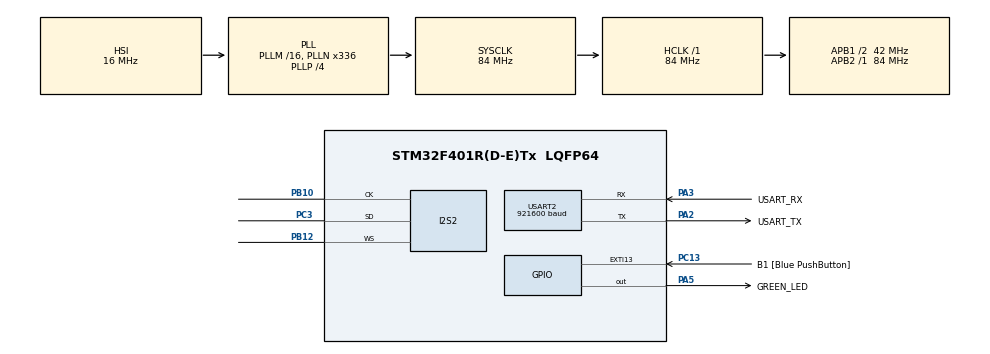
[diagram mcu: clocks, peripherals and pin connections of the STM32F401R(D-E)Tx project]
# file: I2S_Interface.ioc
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Dma.Request0=SPI2_RX
Dma.SPI2_RX.0.Direction=DMA_PERIPH_TO_MEMORY
Dma.SPI2_RX.0.FIFOMode=DMA_FIFOMODE_DISABLE
Dma.SPI2_RX.0.Instance=DMA1_Stream3
Dma.SPI2_RX.0.MemDataAlignment=DMA_MDATAALIGN_HALFWORD
Dma.SPI2_RX.0.MemInc=DMA_MINC_ENABLE
Dma.SPI2_RX.0.Mode=DMA_CIRCULAR
Dma.SPI2_RX.0.PeriphDataAlignment=DMA_PDATAALIGN_HALFWORD
Dma.SPI2_RX.0.PeriphInc=DMA_PINC_DISABLE
Dma.SPI2_RX.0.Priority=DMA_PRIORITY_VERY_HIGH
I2S2.AudioFreq=I2S_AUDIOFREQ_32K
I2S2.CPOL=I2S_CPOL_LOW
I2S2.DataFormat=I2S_DATAFORMAT_24B
I2S2.ErrorAudioFreq=-0.26 %
I2S2.FullDuplexMode=I2S_FULLDUPLEXMODE_DISABLE
I2S2.Instance=SPI$Index
I2S2.Mode=I2S_MODE_MASTER_RX
I2S2.RealAudioFreq=31.914 KHz
I2S2.Standard=I2S_STANDARD_PHILIPS
I2S2.VirtualMode=I2S_MODE_MASTER
Mcu.Family=STM32F4
Mcu.Name=STM32F401R(D-E)Tx
Mcu.Package=LQFP64
NVIC.DMA1_Stream3_IRQn=true\:0\:0\:false\:false\:true\:false\:true\:true
NVIC.PriorityGroup=NVIC_PRIORITYGROUP_4
PA13.GPIO_Label=TMS
PA13.Mode=Trace_Asynchronous_SW
PA13.Signal=SYS_JTMS-SWDIO
PA14.GPIO_Label=TCK
PA14.Mode=Trace_Asynchronous_SW
PA14.Signal=SYS_JTCK-SWCLK
PA2.GPIO_Label=USART_TX
PA2.GPIO_Mode=GPIO_MODE_AF_PP
PA2.GPIO_PuPd=GPIO_NOPULL
PA2.GPIO_Speed=GPIO_SPEED_FREQ_LOW
PA2.Mode=Asynchronous
PA2.Signal=USART2_TX
PA3.GPIO_Label=USART_RX
PA3.GPIO_Mode=GPIO_MODE_AF_PP
PA3.GPIO_PuPd=GPIO_NOPULL
PA3.GPIO_Speed=GPIO_SPEED_FREQ_LOW
PA3.Mode=Asynchronous
PA3.Signal=USART2_RX
PA5.GPIO_Label=GREEN_LED
PA5.Signal=GPIO_Output
PB10.Mode=Half_Duplex_Master
PB10.Signal=I2S2_CK
PB12.Mode=Half_Duplex_Master
PB12.Signal=I2S2_WS
PB3.GPIO_Label=SWO
PB3.Mode=Trace_Asynchronous_SW
PB3.Signal=SYS_JTDO-SWO
PC13-ANTI_TAMP.GPIO_Label=B1 [Blue PushButton]
PC13-ANTI_TAMP.GPIO_ModeDefaultEXTI=GPIO_MODE_IT_FALLING
PC13-ANTI_TAMP.GPIO_PuPd=GPIO_NOPULL
PC13-ANTI_TAMP.Signal=GPXTI13
PC14-OSC32_IN.Mode=LSE-External-Oscillator
PC14-OSC32_IN.Signal=RCC_OSC32_IN
PC15-OSC32_OUT.Mode=LSE-External-Oscillator
PC15-OSC32_OUT.Signal=RCC_OSC32_OUT
PC3.Mode=Half_Duplex_Master
PC3.Signal=I2S2_SD
PH0\ -\ OSC_IN.Mode=HSE-External-Clock-Source
PH0\ -\ OSC_IN.Signal=RCC_OSC_IN
PH1\ -\ OSC_OUT.Mode=HSE-External-Clock-Source
PH1\ -\ OSC_OUT.Signal=RCC_OSC_OUT
ProjectManager.HeapSize=0x200
ProjectManager.StackSize=0x400
ProjectManager.TargetToolchain=STM32CubeIDE
RCC.48MHZClocksFreq_Value=48000000
RCC.AHBFreq_Value=84000000
RCC.APB1CLKDivider=RCC_HCLK_DIV2
RCC.APB1Freq_Value=42000000
RCC.APB1TimFreq_Value=84000000
RCC.APB2Freq_Value=84000000
RCC.APB2TimFreq_Value=84000000
RCC.CortexFreq_Value=84000000
RCC.HCLKFreq_Value=84000000
RCC.HSE_VALUE=8000000
RCC.HSI_VALUE=16000000
RCC.PLLN=336
RCC.PLLP=RCC_PLLP_DIV4
RCC.PLLQ=7
RCC.SYSCLKFreq_VALUE=84000000
RCC.SYSCLKSource=RCC_SYSCLKSOURCE_PLLCLK
RCC.VCOOutputFreq_Value=336000000
USART2.BaudRate=921600
USART2.Mode=MODE_TX_RX
USART2.VirtualMode=VM_ASYNC
board=NUCLEO-F401RE

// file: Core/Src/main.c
/* USER CODE BEGIN Header */
/**
 ******************************************************************************
 * @file           : main.c
 * @brief          : Main program body
 ******************************************************************************
 * @attention
 *
 * Copyright (c) 2025 STMicroelectronics.
 * All rights reserved.
 *
 * This software is licensed under terms that can be found in the LICENSE file
 * in the root directory of this software component.
 * If no LICENSE file comes with this software, it is provided AS-IS.
 *
 ******************************************************************************
 */
/* USER CODE END Header */
#include "main.h"

/* USER CODE BEGIN Includes */
#include <stdio.h>
#include <stdint.h>
#include <string.h>
#include <stdbool.h>

/* USER CODE END Includes */

I2S_HandleTypeDef hi2s2;
DMA_HandleTypeDef hdma_spi2_rx;

UART_HandleTypeDef huart2;

/* USER CODE BEGIN PV */
#define DMA_BUFFER_SIZE 256
#define HALF_BUFFER_SIZE (DMA_BUFFER_SIZE/2)

static uint16_t i2s_dma_buffer[DMA_BUFFER_SIZE * 2];
int32_t processed_data[HALF_BUFFER_SIZE];

#define ITM_STIM_U8(n)  (0xE0000000 + (n<<4))
#define ITM_PORT0_U8(addr)  (*((volatile uint8_t *)(addr)))
#define ITM_PORT0_CH0()   ITM_PORT0_U8( ITM_STIM_U8(0) )

/* Flags */
volatile bool buffer0_ready = false;
volatile bool buffer1_ready = false;

/* function prototype */
void print_dma_bits(int offset, int count2);
void print_processed_bits(int offset, int count);
void send_buffer_over_uart(void);

/* Peripheral handles (from CubeMX) */
extern I2S_HandleTypeDef hi2s2;
extern UART_HandleTypeDef huart2;
/* USER CODE END PV */

void SystemClock_Config(void);
static void MX_GPIO_Init(void);
static void MX_DMA_Init(void);
static void MX_USART2_UART_Init(void);
static void MX_I2S2_Init(void);

int main(void)
{

  /* USER CODE BEGIN 1 */

	//HAL_GPIO_TogglePin(GREEN_LED_GPIO_Port, GREEN_LED_Pin);
	//HAL_Delay(10);
  /* USER CODE END 1 */

  /* MCU Configuration--------------------------------------------------------*/

  /* Reset of all peripherals, Initializes the Flash interface and the Systick. */
  HAL_Init();

  /* Configure the system clock */
  SystemClock_Config();

  /* Initialize all configured peripherals */
  MX_GPIO_Init();
  MX_DMA_Init();
  MX_USART2_UART_Init();
  MX_I2S2_Init();
  /* USER CODE BEGIN 2 */
	const char *hello = "UART OK\r\n";
	HAL_UART_Transmit(&huart2, (uint8_t*) hello, strlen(hello),
	HAL_MAX_DELAY);

	/* 3) Start I2S → DMA in circular mode */
	HAL_I2S_Receive_DMA(&hi2s2, i2s_dma_buffer,
	DMA_BUFFER_SIZE * 2);

  /* USER CODE END 2 */

  /* Infinite loop */
  /* USER CODE BEGIN WHILE */
	/* ... Init ... */
	HAL_I2S_Receive_DMA(&hi2s2, i2s_dma_buffer, DMA_BUFFER_SIZE * 2);

	while (1) {
		if (buffer1_ready) {
			buffer1_ready = false;
			// Send the binary data stored in processed_data
			send_buffer_over_uart();
			print_processed_bits(HALF_BUFFER_SIZE, 5);
		}
	}

    /* USER CODE END WHILE */

}

void SystemClock_Config(void)
{
  RCC_OscInitTypeDef RCC_OscInitStruct = {0};
  RCC_ClkInitTypeDef RCC_ClkInitStruct = {0};

  /** Configure the main internal regulator output voltage
  */
  __HAL_RCC_PWR_CLK_ENABLE();
  __HAL_PWR_VOLTAGESCALING_CONFIG(PWR_REGULATOR_VOLTAGE_SCALE2);

  /** Initializes the RCC Oscillators according to the specified parameters
  * in the RCC_OscInitTypeDef structure.
  */
  RCC_OscInitStruct.OscillatorType = RCC_OSCILLATORTYPE_HSI;
  RCC_OscInitStruct.HSIState = RCC_HSI_ON;
  RCC_OscInitStruct.HSICalibrationValue = RCC_HSICALIBRATION_DEFAULT;
  RCC_OscInitStruct.PLL.PLLState = RCC_PLL_ON;
  RCC_OscInitStruct.PLL.PLLSource = RCC_PLLSOURCE_HSI;
  RCC_OscInitStruct.PLL.PLLM = 16;
  RCC_OscInitStruct.PLL.PLLN = 336;
  RCC_OscInitStruct.PLL.PLLP = RCC_PLLP_DIV4;
  RCC_OscInitStruct.PLL.PLLQ = 7;
  if (HAL_RCC_OscConfig(&RCC_OscInitStruct) != HAL_OK)
  {
    Error_Handler();
  }

  /** Initializes the CPU, AHB and APB buses clocks
  */
  RCC_ClkInitStruct.ClockType = RCC_CLOCKTYPE_HCLK|RCC_CLOCKTYPE_SYSCLK
                              |RCC_CLOCKTYPE_PCLK1|RCC_CLOCKTYPE_PCLK2;
  RCC_ClkInitStruct.SYSCLKSource = RCC_SYSCLKSOURCE_PLLCLK;
  RCC_ClkInitStruct.AHBCLKDivider = RCC_SYSCLK_DIV1;
  RCC_ClkInitStruct.APB1CLKDivider = RCC_HCLK_DIV2;
  RCC_ClkInitStruct.APB2CLKDivider = RCC_HCLK_DIV1;

  if (HAL_RCC_ClockConfig(&RCC_ClkInitStruct, FLASH_LATENCY_2) != HAL_OK)
  {
    Error_Handler();
  }
}

static void MX_I2S2_Init(void)
{

  hi2s2.Instance = SPI2;
  hi2s2.Init.Mode = I2S_MODE_MASTER_RX;
  hi2s2.Init.Standard = I2S_STANDARD_PHILIPS;
  hi2s2.Init.DataFormat = I2S_DATAFORMAT_24B;
  hi2s2.Init.MCLKOutput = I2S_MCLKOUTPUT_DISABLE;
  hi2s2.Init.AudioFreq = I2S_AUDIOFREQ_32K;
  hi2s2.Init.CPOL = I2S_CPOL_LOW;
  hi2s2.Init.ClockSource = I2S_CLOCK_PLL;
  hi2s2.Init.FullDuplexMode = I2S_FULLDUPLEXMODE_DISABLE;
  if (HAL_I2S_Init(&hi2s2) != HAL_OK)
  {
    Error_Handler();
  }

}

static void MX_USART2_UART_Init(void)
{

  huart2.Instance = USART2;
  huart2.Init.BaudRate = 921600;
  huart2.Init.WordLength = UART_WORDLENGTH_8B;
  huart2.Init.StopBits = UART_STOPBITS_1;
  huart2.Init.Parity = UART_PARITY_NONE;
  huart2.Init.Mode = UART_MODE_TX_RX;
  huart2.Init.HwFlowCtl = UART_HWCONTROL_NONE;
  huart2.Init.OverSampling = UART_OVERSAMPLING_16;
  if (HAL_UART_Init(&huart2) != HAL_OK)
  {
    Error_Handler();
  }

}

static void MX_DMA_Init(void)
{

  /* DMA controller clock enable */
  __HAL_RCC_DMA1_CLK_ENABLE();

  /* DMA interrupt init */
  /* DMA1_Stream3_IRQn interrupt configuration */
  HAL_NVIC_SetPriority(DMA1_Stream3_IRQn, 0, 0);
  HAL_NVIC_EnableIRQ(DMA1_Stream3_IRQn);

}

static void MX_GPIO_Init(void)
{
  GPIO_InitTypeDef GPIO_InitStruct = {0};

  /* GPIO Ports Clock Enable */
  __HAL_RCC_GPIOC_CLK_ENABLE();
  __HAL_RCC_GPIOH_CLK_ENABLE();
  __HAL_RCC_GPIOA_CLK_ENABLE();
  __HAL_RCC_GPIOB_CLK_ENABLE();

  /*Configure GPIO pin Output Level */
  HAL_GPIO_WritePin(GREEN_LED_GPIO_Port, GREEN_LED_Pin, GPIO_PIN_RESET);

  /*Configure GPIO pin : B1_Pin */
  GPIO_InitStruct.Pin = B1_Pin;
  GPIO_InitStruct.Mode = GPIO_MODE_IT_FALLING;
  GPIO_InitStruct.Pull = GPIO_NOPULL;
  HAL_GPIO_Init(B1_GPIO_Port, &GPIO_InitStruct);

  /*Configure GPIO pin : GREEN_LED_Pin */
  GPIO_InitStruct.Pin = GREEN_LED_Pin;
  GPIO_InitStruct.Mode = GPIO_MODE_OUTPUT_PP;
  GPIO_InitStruct.Pull = GPIO_NOPULL;
  GPIO_InitStruct.Speed = GPIO_SPEED_FREQ_LOW;
  HAL_GPIO_Init(GREEN_LED_GPIO_Port, &GPIO_InitStruct);

}

/* USER CODE BEGIN 4 */
void print_dma_bits(int offset, int count2) {
	for (int i = 0; i < count2; ++i) {
		uint32_t raw = i2s_dma_buffer[offset + i];
		// MSB first
		for (int b = 31; b >= 0; --b) {
			uint8_t c = ((raw >> b) & 1) ? '1' : '0';
			ITM_PORT0_CH0() = c;
			HAL_Delay(1);            // ~1 ms per bit; slow enough to see it
		}
		// line break after each word
		ITM_PORT0_CH0() = '\r';
		ITM_PORT0_CH0() = '\n';
		HAL_Delay(5);
	}
}
void print_processed_bits(int offset, int count) {
// For each sample in the half-buffer
	for (int i = 0; i < count; ++i) {
		int32_t sample = processed_data[offset + i];

		// Print bits 23 down to 0 (MSB of 24-bit word first)
		for (int b = 23; b >= 0; --b) {
			uint8_t c = ((sample >> b) & 1) ? '1' : '0';
			ITM_PORT0_CH0() = c;
			HAL_Delay(1);
		}
		// CRLF after each sample
		ITM_PORT0_CH0() = '\r';
		ITM_PORT0_CH0() = '\n';
		HAL_Delay(5);
	}
}

void send_buffer_over_uart(void) { // No offset argument

// Calculate the total number of *bytes* to send
// We send the entire content of processed_data (128 * int32_t)
	uint32_t bytes_to_send = HALF_BUFFER_SIZE * sizeof(int32_t); // 128 * 4 = 512 bytes

// Transmit the raw binary data directly from the processed_data buffer
// Cast the int32_t* pointer to the uint8_t* needed by HAL_UART_Transmit
	HAL_UART_Transmit(&huart2, (uint8_t*) processed_data, // Pointer to the data buffer
			bytes_to_send,           // Total number of bytes
			HAL_MAX_DELAY);          // Timeout

	HAL_GPIO_TogglePin(GREEN_LED_GPIO_Port, GREEN_LED_Pin);
}

/* I2S full-buffer ISR: process second 128 samples */
void HAL_I2S_RxCpltCallback(I2S_HandleTypeDef *hi2s) {
	if (hi2s->Instance == SPI2) {
		for (int s = 0; s < HALF_BUFFER_SIZE; ++s) { // Loop 128 times
			// Read from SECOND half of i2s_dma_buffer
			uint16_t lo = ((uint16_t*) i2s_dma_buffer)[2
					* (s + HALF_BUFFER_SIZE)];
			uint16_t hi = ((uint16_t*) i2s_dma_buffer)[2
					* (s + HALF_BUFFER_SIZE) + 1];
			uint32_t raw = ((uint32_t) hi << 16) | lo;
			// Store sign-extended result in processed_data[0..127]
			processed_data[s] = ((int32_t) (raw << 8)) >> 8;
//			print_dma_bits(HALF_BUFFER_SIZE, s);
//			print_processed_bits(HALF_BUFFER_SIZE, s);
		}
		buffer1_ready = true;
	}
}
/* USER CODE END 4 */

void Error_Handler(void)
{
  /* USER CODE BEGIN Error_Handler_Debug */
	/* User can add his own implementation to report the HAL error return state */
//__disable_irq();
	__disable_irq();
	HAL_GPIO_WritePin(GREEN_LED_GPIO_Port, GREEN_LED_Pin, GPIO_PIN_SET); // Turn on LED for error
	while (1) {
		// Infinite loop
	}
  /* USER CODE END Error_Handler_Debug */
}
